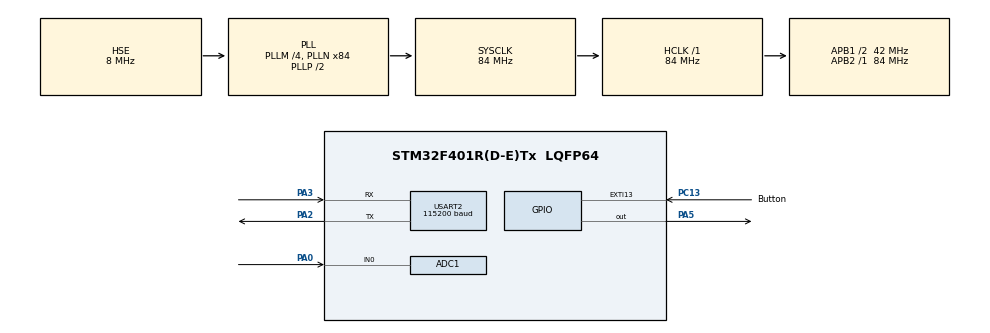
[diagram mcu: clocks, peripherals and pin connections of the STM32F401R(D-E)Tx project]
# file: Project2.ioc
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ADC1.Channel-0\#ChannelRegularConversion=ADC_CHANNEL_0
ADC1.ContinuousConvMode=ENABLE
ADC1.NbrOfConversionFlag=1
ADC1.Rank-0\#ChannelRegularConversion=1
ADC1.SamplingTime-0\#ChannelRegularConversion=ADC_SAMPLETIME_3CYCLES
ADC1.master=1
Mcu.Family=STM32F4
Mcu.Name=STM32F401R(D-E)Tx
Mcu.Package=LQFP64
NVIC.EXTI15_10_IRQn=true\:0\:0\:false\:false\:true\:true\:true\:true
NVIC.PriorityGroup=NVIC_PRIORITYGROUP_4
PA0-WKUP.Signal=ADCx_IN0
PA2.Mode=Asynchronous
PA2.Signal=USART2_TX
PA3.Mode=Asynchronous
PA3.Signal=USART2_RX
PA5.Signal=GPIO_Output
PC13-ANTI_TAMP.GPIO_Label=Button
PC13-ANTI_TAMP.GPIO_ModeDefaultEXTI=GPIO_MODE_IT_FALLING
PC13-ANTI_TAMP.Signal=GPXTI13
PH0\ -\ OSC_IN.Mode=HSE-External-Oscillator
PH0\ -\ OSC_IN.Signal=RCC_OSC_IN
PH1\ -\ OSC_OUT.Mode=HSE-External-Oscillator
PH1\ -\ OSC_OUT.Signal=RCC_OSC_OUT
ProjectManager.HeapSize=0x200
ProjectManager.StackSize=0x400
ProjectManager.TargetToolchain=STM32CubeIDE
RCC.48MHZClocksFreq_Value=42000000
RCC.AHBFreq_Value=84000000
RCC.APB1CLKDivider=RCC_HCLK_DIV2
RCC.APB1Freq_Value=42000000
RCC.APB1TimFreq_Value=84000000
RCC.APB2Freq_Value=84000000
RCC.APB2TimFreq_Value=84000000
RCC.CortexFreq_Value=84000000
RCC.HCLKFreq_Value=84000000
RCC.HSE_VALUE=8000000
RCC.HSI_VALUE=16000000
RCC.LSE_VALUE=32768
RCC.PLLM=4
RCC.PLLN=84
RCC.PLLSourceVirtual=RCC_PLLSOURCE_HSE
RCC.SYSCLKFreq_VALUE=84000000
RCC.SYSCLKSource=RCC_SYSCLKSOURCE_PLLCLK
RCC.VCOOutputFreq_Value=168000000
SH.ADCx_IN0.0=ADC1_IN0,IN0
USART2.BaudRate=115200
USART2.VirtualMode=VM_ASYNC
board=custom

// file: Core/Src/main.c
/* USER CODE BEGIN Header */
/**
  ******************************************************************************
  * @file           : main.c
  * @brief          : Main program body
  ******************************************************************************
  * @attention
  *
  * Copyright (c) 2025 STMicroelectronics.
  * All rights reserved.
  *
  * This software is licensed under terms that can be found in the LICENSE file
  * in the root directory of this software component.
  * If no LICENSE file comes with this software, it is provided AS-IS.
  *
  ******************************************************************************

  /*
  This code is written for the STM32F401RE (Nucleo-F401RE) development board.

  Functionality:
  --------------
  - Continuously reads analog voltage from ADC1 (e.g. a potentiometer on PA0).
  - Maintains a circular buffer of the last 1024 voltage readings.
  - Computes the running average of these readings in real-time.

  - When the user **presses the blue button (B1)** (external interrupt on the Button pin):
      • GPIOA PIN_5 (LD2 onboard LED) turns ON,
      • The averaged voltage value is printed over USART2 (e.g. to a serial terminal),
      • Then the LED turns OFF.

  Clock Configuration:
  --------------------
  - HSE = 8 MHz external crystal
  - PLL config: M = 4, N = 84, P = 2 → SYSCLK = 84 MHz
  - APB1 prescaler = 2 → APB1 = 42 MHz (USART2 is on APB1)
  - ADC resolution: 12-bit, reference voltage = 3.3V

  Output:
  -------
  Example UART message (via USB virtual COM port):
      Voltage: 1.643 V
*/

/* USER CODE END Header */
#include "main.h"
#include "adc.h"
#include "usart.h"
#include "gpio.h"

/* USER CODE BEGIN Includes */
#include "string.h"
#include "stdio.h"
#include "stdbool.h"
/* USER CODE END Includes */

/* USER CODE BEGIN PV */

   float avg = 0;
   char tx_buffer[32];
/* USER CODE END PV */

void SystemClock_Config(void);

int main(void)
{

  /* MCU Configuration--------------------------------------------------------*/

  /* Reset of all peripherals, Initializes the Flash interface and the Systick. */
  HAL_Init();

  /* Configure the system clock */
  SystemClock_Config();

  /* Initialize all configured peripherals */
  MX_GPIO_Init();
  MX_ADC1_Init();
  MX_USART2_UART_Init();
  /* USER CODE BEGIN 2 */
  uint16_t readValue;
  float tot = 0;
  short i = 0;
  float tot_arr[1024];
  static bool buffer_full = false;
  /* USER CODE END 2 */

  /* Infinite loop */
  while (1)
  {

    /* USER CODE BEGIN 3 */

	   HAL_ADC_Start(&hadc1);
	   HAL_ADC_PollForConversion(&hadc1, HAL_MAX_DELAY);

	   readValue = HAL_ADC_GetValue(&hadc1);
	   float voltage = (readValue * 3.30) / 4096.00;

	   if (buffer_full) {
	     tot -= tot_arr[i];
	   }

	   tot_arr[i] = voltage;
	   tot += voltage;

	   i++;
	   if (i >= 1024) {
	     i = 0;
	     buffer_full = true;
	   }

	   avg = tot / (buffer_full ? 1024.00 : (float)i);

  }
  /* USER CODE END 3 */
}

void SystemClock_Config(void)
{
  RCC_OscInitTypeDef RCC_OscInitStruct = {0};
  RCC_ClkInitTypeDef RCC_ClkInitStruct = {0};

  /** Configure the main internal regulator output voltage
  */
  __HAL_RCC_PWR_CLK_ENABLE();
  __HAL_PWR_VOLTAGESCALING_CONFIG(PWR_REGULATOR_VOLTAGE_SCALE2);

  /** Initializes the RCC Oscillators according to the specified parameters
  * in the RCC_OscInitTypeDef structure.
  */
  RCC_OscInitStruct.OscillatorType = RCC_OSCILLATORTYPE_HSE;
  RCC_OscInitStruct.HSEState = RCC_HSE_ON;
  RCC_OscInitStruct.PLL.PLLState = RCC_PLL_ON;
  RCC_OscInitStruct.PLL.PLLSource = RCC_PLLSOURCE_HSE;
  RCC_OscInitStruct.PLL.PLLM = 4;
  RCC_OscInitStruct.PLL.PLLN = 84;
  RCC_OscInitStruct.PLL.PLLP = RCC_PLLP_DIV2;
  RCC_OscInitStruct.PLL.PLLQ = 4;
  if (HAL_RCC_OscConfig(&RCC_OscInitStruct) != HAL_OK)
  {
    Error_Handler();
  }

  /** Initializes the CPU, AHB and APB buses clocks
  */
  RCC_ClkInitStruct.ClockType = RCC_CLOCKTYPE_HCLK|RCC_CLOCKTYPE_SYSCLK
                              |RCC_CLOCKTYPE_PCLK1|RCC_CLOCKTYPE_PCLK2;
  RCC_ClkInitStruct.SYSCLKSource = RCC_SYSCLKSOURCE_PLLCLK;
  RCC_ClkInitStruct.AHBCLKDivider = RCC_SYSCLK_DIV1;
  RCC_ClkInitStruct.APB1CLKDivider = RCC_HCLK_DIV2;
  RCC_ClkInitStruct.APB2CLKDivider = RCC_HCLK_DIV1;

  if (HAL_RCC_ClockConfig(&RCC_ClkInitStruct, FLASH_LATENCY_2) != HAL_OK)
  {
    Error_Handler();
  }
}

/* USER CODE BEGIN 4 */
void HAL_GPIO_EXTI_Callback(uint16_t GPIO_Pin){
	if(GPIO_Pin == Button_Pin){
			HAL_GPIO_WritePin(GPIOA, GPIO_PIN_5, GPIO_PIN_SET);
			sprintf(tx_buffer,"Voltage: %.3f V\r\n", avg);
			HAL_UART_Transmit(&huart2, (uint8_t*)tx_buffer,strlen(tx_buffer), HAL_MAX_DELAY);
			HAL_GPIO_WritePin(GPIOA, GPIO_PIN_5, GPIO_PIN_RESET);
	 }
}
/* USER CODE END 4 */

void Error_Handler(void)
{
  __disable_irq();
  while (1)
  {
  }
}
